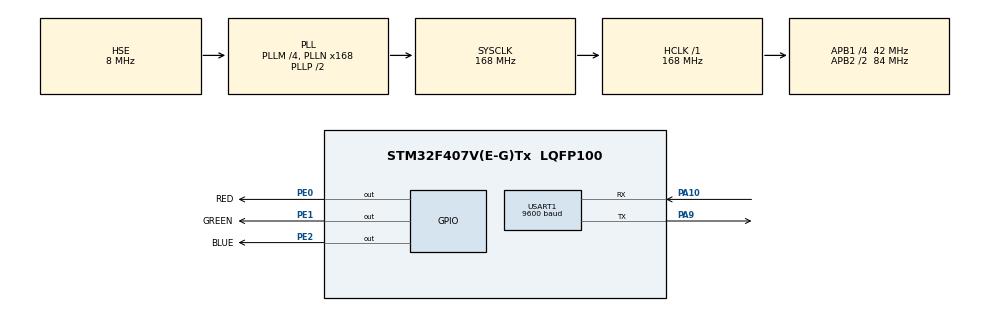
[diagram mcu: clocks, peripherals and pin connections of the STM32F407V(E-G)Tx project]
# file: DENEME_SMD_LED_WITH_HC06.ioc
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Mcu.Family=STM32F4
Mcu.Name=STM32F407V(E-G)Tx
Mcu.Package=LQFP100
NVIC.PriorityGroup=NVIC_PRIORITYGROUP_4
PA10.Mode=Asynchronous
PA10.Signal=USART1_RX
PA9.Mode=Asynchronous
PA9.Signal=USART1_TX
PE0.GPIO_Label=RED
PE0.Signal=GPIO_Output
PE1.GPIO_Label=GREEN
PE1.Signal=GPIO_Output
PE2.GPIO_Label=BLUE
PE2.Signal=GPIO_Output
PH0-OSC_IN.Mode=HSE-External-Oscillator
PH0-OSC_IN.Signal=RCC_OSC_IN
PH1-OSC_OUT.Mode=HSE-External-Oscillator
PH1-OSC_OUT.Signal=RCC_OSC_OUT
ProjectManager.HeapSize=0x200
ProjectManager.StackSize=0x400
ProjectManager.TargetToolchain=STM32CubeIDE
RCC.48MHZClocksFreq_Value=84000000
RCC.AHBFreq_Value=168000000
RCC.APB1CLKDivider=RCC_HCLK_DIV4
RCC.APB1Freq_Value=42000000
RCC.APB1TimFreq_Value=84000000
RCC.APB2CLKDivider=RCC_HCLK_DIV2
RCC.APB2Freq_Value=84000000
RCC.APB2TimFreq_Value=168000000
RCC.CortexFreq_Value=168000000
RCC.HCLKFreq_Value=168000000
RCC.HSE_VALUE=8000000
RCC.HSI_VALUE=16000000
RCC.LSE_VALUE=32768
RCC.PLLM=4
RCC.PLLN=168
RCC.PLLSourceVirtual=RCC_PLLSOURCE_HSE
RCC.SYSCLKFreq_VALUE=168000000
RCC.SYSCLKSource=RCC_SYSCLKSOURCE_PLLCLK
RCC.VCOOutputFreq_Value=336000000
USART1.BaudRate=9600
USART1.VirtualMode=VM_ASYNC
board=custom

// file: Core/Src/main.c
/* USER CODE BEGIN Header */
/**
  ******************************************************************************
  * @file           : main.c
  * @brief          : Main program body
  ******************************************************************************
  * @attention
  *
  * <h2><center>&copy; Copyright (c) 2021 STMicroelectronics.
  * All rights reserved.</center></h2>
  *
  * This software component is licensed by ST under BSD 3-Clause license,
  * the "License"; You may not use this file except in compliance with the
  * License. You may obtain a copy of the License at:
  *                        opensource.org/licenses/BSD-3-Clause
  *
  ******************************************************************************
  */
/* USER CODE END Header */
#include "main.h"

/* USER CODE BEGIN Includes */
#include "string.h"
/* USER CODE END Includes */

UART_HandleTypeDef huart1;

void SystemClock_Config(void);
static void MX_GPIO_Init(void);
static void MX_USART1_UART_Init(void);
/* USER CODE BEGIN PFP */
char rx_buffer[20] ;
/* USER CODE END PFP */

int main(void)
{

  /* MCU Configuration--------------------------------------------------------*/

  /* Reset of all peripherals, Initializes the Flash interface and the Systick. */
  HAL_Init();

  /* Configure the system clock */
  SystemClock_Config();

  /* Initialize all configured peripherals */
  MX_GPIO_Init();
  MX_USART1_UART_Init();

  /* Infinite loop */
  while (1)
  {

    /* USER CODE BEGIN 3 */

	  HAL_UART_Receive(&huart1, (uint8_t*)rx_buffer, 20, 100 );

	  //Link of project video -------> https://drive.google.com/file/d/1gcIOqnaNim8oAui2243q9ArjpJsK6ofP/view?usp=sharing

	  if (strcmp(rx_buffer,"Led red on") == 0 )
	  {
		  HAL_GPIO_WritePin(GPIOE, GPIO_PIN_All, GPIO_PIN_RESET);
		  HAL_GPIO_WritePin(GPIOE, RED_Pin, GPIO_PIN_SET);
	  }
	  if  (strcmp(rx_buffer,"Led red off") == 0 )
		{
		  HAL_GPIO_WritePin(GPIOE, RED_Pin, GPIO_PIN_RESET);
		}
	  if  (strcmp(rx_buffer,"Led green on") == 0 )
	  {
		  HAL_GPIO_WritePin(GPIOE, GPIO_PIN_All, GPIO_PIN_RESET);
		  HAL_GPIO_WritePin(GPIOE, GREEN_Pin, GPIO_PIN_SET);

	  }
	  if (strcmp(rx_buffer,"Led green off") == 0 )
	  {
		  HAL_GPIO_WritePin(GPIOE, GREEN_Pin, GPIO_PIN_RESET);
	  }
	  if (strcmp(rx_buffer,"Led blue on") == 0 )
	  {
		  HAL_GPIO_WritePin(GPIOE, GPIO_PIN_All, GPIO_PIN_RESET);
		  HAL_GPIO_WritePin(GPIOE, BLUE_Pin, GPIO_PIN_SET);

	  }
	  if (strcmp(rx_buffer,"Led blue off") == 0)
	  {

		  HAL_GPIO_WritePin(GPIOE, BLUE_Pin, GPIO_PIN_RESET);
	  }

	  for (uint8_t i = 0 ; i<20 ;i++)
	  {
		  rx_buffer[i] = '\0' ; //Clear rx_buffer variable
	  }
  }
  /* USER CODE END 3 */
}

void SystemClock_Config(void)
{
  RCC_OscInitTypeDef RCC_OscInitStruct = {0};
  RCC_ClkInitTypeDef RCC_ClkInitStruct = {0};

  /** Configure the main internal regulator output voltage
  */
  __HAL_RCC_PWR_CLK_ENABLE();
  __HAL_PWR_VOLTAGESCALING_CONFIG(PWR_REGULATOR_VOLTAGE_SCALE1);
  /** Initializes the RCC Oscillators according to the specified parameters
  * in the RCC_OscInitTypeDef structure.
  */
  RCC_OscInitStruct.OscillatorType = RCC_OSCILLATORTYPE_HSE;
  RCC_OscInitStruct.HSEState = RCC_HSE_ON;
  RCC_OscInitStruct.PLL.PLLState = RCC_PLL_ON;
  RCC_OscInitStruct.PLL.PLLSource = RCC_PLLSOURCE_HSE;
  RCC_OscInitStruct.PLL.PLLM = 4;
  RCC_OscInitStruct.PLL.PLLN = 168;
  RCC_OscInitStruct.PLL.PLLP = RCC_PLLP_DIV2;
  RCC_OscInitStruct.PLL.PLLQ = 4;
  if (HAL_RCC_OscConfig(&RCC_OscInitStruct) != HAL_OK)
  {
    Error_Handler();
  }
  /** Initializes the CPU, AHB and APB buses clocks
  */
  RCC_ClkInitStruct.ClockType = RCC_CLOCKTYPE_HCLK|RCC_CLOCKTYPE_SYSCLK
                              |RCC_CLOCKTYPE_PCLK1|RCC_CLOCKTYPE_PCLK2;
  RCC_ClkInitStruct.SYSCLKSource = RCC_SYSCLKSOURCE_PLLCLK;
  RCC_ClkInitStruct.AHBCLKDivider = RCC_SYSCLK_DIV1;
  RCC_ClkInitStruct.APB1CLKDivider = RCC_HCLK_DIV4;
  RCC_ClkInitStruct.APB2CLKDivider = RCC_HCLK_DIV2;

  if (HAL_RCC_ClockConfig(&RCC_ClkInitStruct, FLASH_LATENCY_5) != HAL_OK)
  {
    Error_Handler();
  }
}

static void MX_USART1_UART_Init(void)
{

  huart1.Instance = USART1;
  huart1.Init.BaudRate = 9600;
  huart1.Init.WordLength = UART_WORDLENGTH_8B;
  huart1.Init.StopBits = UART_STOPBITS_1;
  huart1.Init.Parity = UART_PARITY_NONE;
  huart1.Init.Mode = UART_MODE_TX_RX;
  huart1.Init.HwFlowCtl = UART_HWCONTROL_NONE;
  huart1.Init.OverSampling = UART_OVERSAMPLING_16;
  if (HAL_UART_Init(&huart1) != HAL_OK)
  {
    Error_Handler();
  }

}

static void MX_GPIO_Init(void)
{
  GPIO_InitTypeDef GPIO_InitStruct = {0};

  /* GPIO Ports Clock Enable */
  __HAL_RCC_GPIOE_CLK_ENABLE();
  __HAL_RCC_GPIOH_CLK_ENABLE();
  __HAL_RCC_GPIOA_CLK_ENABLE();

  /*Configure GPIO pin Output Level */
  HAL_GPIO_WritePin(GPIOE, BLUE_Pin|RED_Pin|GREEN_Pin, GPIO_PIN_RESET);

  /*Configure GPIO pins : BLUE_Pin RED_Pin GREEN_Pin */
  GPIO_InitStruct.Pin = BLUE_Pin|RED_Pin|GREEN_Pin;
  GPIO_InitStruct.Mode = GPIO_MODE_OUTPUT_PP;
  GPIO_InitStruct.Pull = GPIO_NOPULL;
  GPIO_InitStruct.Speed = GPIO_SPEED_FREQ_LOW;
  HAL_GPIO_Init(GPIOE, &GPIO_InitStruct);

}

void Error_Handler(void)
{
  __disable_irq();
  while (1)
  {
  }
}

/************************ (C) COPYRIGHT STMicroelectronics *****END OF FILE****/
